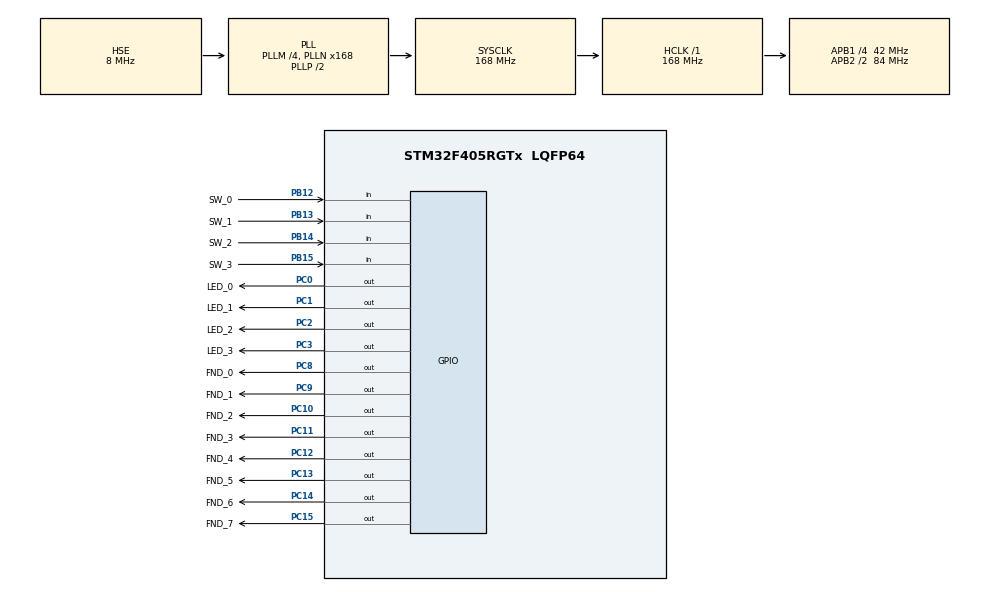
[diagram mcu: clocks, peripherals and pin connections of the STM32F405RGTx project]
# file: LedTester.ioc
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Mcu.Family=STM32F4
Mcu.Name=STM32F405RGTx
Mcu.Package=LQFP64
NVIC.PriorityGroup=NVIC_PRIORITYGROUP_4
PA13.Mode=Serial_Wire
PA13.Signal=SYS_JTMS-SWDIO
PA14.Mode=Serial_Wire
PA14.Signal=SYS_JTCK-SWCLK
PB12.GPIO_Label=SW_0
PB12.Signal=GPIO_Input
PB13.GPIO_Label=SW_1
PB13.Signal=GPIO_Input
PB14.GPIO_Label=SW_2
PB14.Signal=GPIO_Input
PB15.GPIO_Label=SW_3
PB15.Signal=GPIO_Input
PC0.GPIO_Label=LED_0
PC0.Signal=GPIO_Output
PC1.GPIO_Label=LED_1
PC1.Signal=GPIO_Output
PC10.GPIO_Label=FND_2
PC10.Signal=GPIO_Output
PC11.GPIO_Label=FND_3
PC11.Signal=GPIO_Output
PC12.GPIO_Label=FND_4
PC12.Signal=GPIO_Output
PC13-ANTI_TAMP.GPIO_Label=FND_5
PC13-ANTI_TAMP.Signal=GPIO_Output
PC14-OSC32_IN.GPIO_Label=FND_6
PC14-OSC32_IN.Signal=GPIO_Output
PC15-OSC32_OUT.GPIO_Label=FND_7
PC15-OSC32_OUT.Signal=GPIO_Output
PC2.GPIO_Label=LED_2
PC2.Signal=GPIO_Output
PC3.GPIO_Label=LED_3
PC3.Signal=GPIO_Output
PC8.GPIO_Label=FND_0
PC8.Signal=GPIO_Output
PC9.GPIO_Label=FND_1
PC9.Signal=GPIO_Output
PH0-OSC_IN.Mode=HSE-External-Oscillator
PH0-OSC_IN.Signal=RCC_OSC_IN
PH1-OSC_OUT.Mode=HSE-External-Oscillator
PH1-OSC_OUT.Signal=RCC_OSC_OUT
ProjectManager.HeapSize=0x200
ProjectManager.StackSize=0x400
ProjectManager.TargetToolchain=EWARM V8.32
RCC.48MHZClocksFreq_Value=84000000
RCC.AHBFreq_Value=168000000
RCC.APB1CLKDivider=RCC_HCLK_DIV4
RCC.APB1Freq_Value=42000000
RCC.APB1TimFreq_Value=84000000
RCC.APB2CLKDivider=RCC_HCLK_DIV2
RCC.APB2Freq_Value=84000000
RCC.APB2TimFreq_Value=168000000
RCC.CortexFreq_Value=168000000
RCC.HCLKFreq_Value=168000000
RCC.HSE_VALUE=8000000
RCC.HSI_VALUE=16000000
RCC.LSE_VALUE=32768
RCC.PLLM=4
RCC.PLLN=168
RCC.PLLSourceVirtual=RCC_PLLSOURCE_HSE
RCC.SYSCLKFreq_VALUE=168000000
RCC.SYSCLKSource=RCC_SYSCLKSOURCE_PLLCLK
RCC.VCOOutputFreq_Value=336000000
board=custom

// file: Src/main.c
/* USER CODE BEGIN Header */
/**
  ******************************************************************************
  * @file           : main.c
  * @brief          : Main program body
  ******************************************************************************
  * @attention
  *
  * <h2><center>&copy; Copyright (c) 2020 STMicroelectronics.
  * All rights reserved.</center></h2>
  *
  * This software component is licensed by ST under BSD 3-Clause license,
  * the "License"; You may not use this file except in compliance with the
  * License. You may obtain a copy of the License at:
  *                        opensource.org/licenses/BSD-3-Clause
  *
  ******************************************************************************
  */
/* USER CODE END Header */

#include "main.h"
#include "gpio.h"

/* USER CODE BEGIN PV */
const uint16_t LedPins[] = {LED_0_Pin, LED_1_Pin, LED_2_Pin, LED_3_Pin};
const uint16_t SwPins[] = {SW_0_Pin, SW_1_Pin, SW_2_Pin, SW_3_Pin};
const uint16_t FndChars[] = {0x3F00, 0x0600, 0x5B00, 0x4F00, 0x6600, 0x6D00,
                             0x7C00, 0x0700, 0x7F00, 0x6700, 0x7700, 0x7C00,
                             0x3900, 0x5E00, 0x7900, 0x7100, 0x0800, 0x8000};

const uint16_t FndPins = FND_0_Pin | FND_1_Pin | FND_2_Pin | FND_3_Pin |
                         FND_4_Pin | FND_5_Pin | FND_6_Pin | FND_7_Pin;
/* USER CODE END PV */

void SystemClock_Config(void);

int main(void)
{

  /* MCU Configuration--------------------------------------------------------*/

  /* Reset of all peripherals, Initializes the Flash interface and the Systick. */
  HAL_Init();

  /* Configure the system clock */
  SystemClock_Config();

  /* Initialize all configured peripherals */
  MX_GPIO_Init();

  /* Infinite loop */
  /* USER CODE BEGIN WHILE */
  char index = 0;
  while (1)
  {
    GPIO_PinState input = HAL_GPIO_ReadPin(GPIOB, SW_0_Pin);
    if (input == GPIO_PIN_SET)
    {
      index++;
      if (index >= 16)
      {
        index = 0;
      }
      HAL_Delay(300);
    }
    HAL_GPIO_WritePin(GPIOC, FndPins & FndChars[index], GPIO_PIN_SET);
    HAL_GPIO_WritePin(GPIOC, FndPins & ~FndChars[index], GPIO_PIN_RESET);
    /* USER CODE END WHILE */

  }
}

void SystemClock_Config(void)
{
  RCC_OscInitTypeDef RCC_OscInitStruct = {0};
  RCC_ClkInitTypeDef RCC_ClkInitStruct = {0};

  /** Configure the main internal regulator output voltage
  */
  __HAL_RCC_PWR_CLK_ENABLE();
  __HAL_PWR_VOLTAGESCALING_CONFIG(PWR_REGULATOR_VOLTAGE_SCALE1);
  /** Initializes the CPU, AHB and APB busses clocks
  */
  RCC_OscInitStruct.OscillatorType = RCC_OSCILLATORTYPE_HSE;
  RCC_OscInitStruct.HSEState = RCC_HSE_ON;
  RCC_OscInitStruct.PLL.PLLState = RCC_PLL_ON;
  RCC_OscInitStruct.PLL.PLLSource = RCC_PLLSOURCE_HSE;
  RCC_OscInitStruct.PLL.PLLM = 4;
  RCC_OscInitStruct.PLL.PLLN = 168;
  RCC_OscInitStruct.PLL.PLLP = RCC_PLLP_DIV2;
  RCC_OscInitStruct.PLL.PLLQ = 4;
  if (HAL_RCC_OscConfig(&RCC_OscInitStruct) != HAL_OK)
  {
    Error_Handler();
  }
  /** Initializes the CPU, AHB and APB busses clocks
  */
  RCC_ClkInitStruct.ClockType = RCC_CLOCKTYPE_HCLK | RCC_CLOCKTYPE_SYSCLK | RCC_CLOCKTYPE_PCLK1 | RCC_CLOCKTYPE_PCLK2;
  RCC_ClkInitStruct.SYSCLKSource = RCC_SYSCLKSOURCE_PLLCLK;
  RCC_ClkInitStruct.AHBCLKDivider = RCC_SYSCLK_DIV1;
  RCC_ClkInitStruct.APB1CLKDivider = RCC_HCLK_DIV4;
  RCC_ClkInitStruct.APB2CLKDivider = RCC_HCLK_DIV2;

  if (HAL_RCC_ClockConfig(&RCC_ClkInitStruct, FLASH_LATENCY_5) != HAL_OK)
  {
    Error_Handler();
  }
}

void Error_Handler(void)
{
}

/************************ (C) COPYRIGHT STMicroelectronics *****END OF FILE****/
